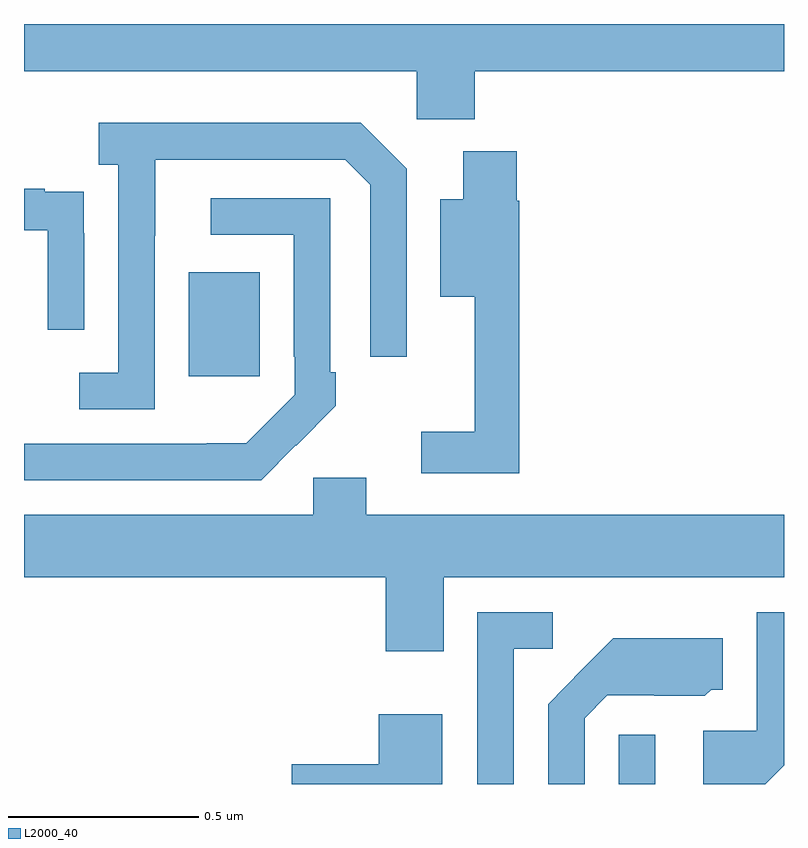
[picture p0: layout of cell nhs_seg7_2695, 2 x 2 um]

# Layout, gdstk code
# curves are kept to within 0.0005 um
import gdstk
lib = gdstk.Library(unit=1e-6, precision=1e-09)
def R(c, l, rs):  # rectangles x0, y0, x1, y1
    for r in rs: c.add(gdstk.rectangle(r[:2], r[2:], *l))
def P(c, l, *ps):  # polygons
    for p in ps: c.add(gdstk.Polygon(p, *l))
L2000_40 = (2000, 40)

nhs_seg7_2695 = lib.new_cell('nhs_seg7_2695')
R(nhs_seg7_2695, L2000_40, [(149.565,1072,149.661,1072.129), (148.433,1073.073,148.621,1073.347)])
P(nhs_seg7_2695, L2000_40, [(150,1074),(148,1074),(148,1073.876),(149.034,1073.876),(149.034,1073.75),(149.186,1073.75),(149.186,1073.876),(150,1073.876)],
  [(148.344,1073.443),(148.345,1073.443),(148.345,1073.643),(148.845,1073.643),(148.911,1073.577),(148.911,1073.124),(149.007,1073.124),(149.007,1073.619),(148.886,1073.74),(148.197,1073.74),(148.197,1073.63),(148.248,1073.63),(148.248,1073.082),(148.146,1073.082),(148.146,1072.986),(148.344,1072.986)],
  [(149.303,1073.535),(149.297,1073.535),(149.297,1073.665),(149.156,1073.665),(149.156,1073.539),(149.096,1073.539),(149.096,1073.282),(149.186,1073.282),(149.186,1072.927),(149.046,1072.927),(149.046,1072.818),(149.303,1072.818)],
  [(148.158,1073.45),(148.157,1073.45),(148.157,1073.559),(148.055,1073.559),(148.055,1073.566),(148,1073.566),(148,1073.457),(148.062,1073.457),(148.062,1073.196),(148.158,1073.196)],
  [(148.715,1072.891),(148.716,1072.89),(148.821,1072.995),(148.821,1073.083),(148.806,1073.083),(148.806,1073.541),(148.491,1073.541),(148.491,1073.445),(148.71,1073.445),(148.71,1073.125),(148.713,1073.125),(148.713,1073.025),(148.585,1072.897),(148.481,1072.897),(148.481,1072.896),(148,1072.896),(148,1072.8),(148.624,1072.8)],
  [(149.104,1072.544),(150,1072.544),(150,1072.708),(148.9,1072.708),(148.9,1072.806),(148.761,1072.806),(148.761,1072.708),(148,1072.708),(148,1072.544),(148.952,1072.544),(148.952,1072.35),(149.104,1072.35)],
  [(149.289,1072.356),(149.392,1072.356),(149.392,1072.452),(149.193,1072.452),(149.193,1072),(149.289,1072)],
  [(150,1072.049),(150,1072.452),(149.928,1072.452),(149.928,1072.14),(149.787,1072.14),(149.787,1072),(149.951,1072)],
  [(149.475,1072.173),(149.535,1072.233),(149.658,1072.233),(149.658,1072.232),(149.792,1072.232),(149.808,1072.248),(149.839,1072.248),(149.839,1072.384),(149.551,1072.384),(149.379,1072.21),(149.379,1072),(149.475,1072)],
  [(149.101,1072.183),(148.934,1072.183),(148.934,1072.052),(148.704,1072.052),(148.704,1072),(149.101,1072)])

lib.write_gds('nhs_seg7_2695.gds')
